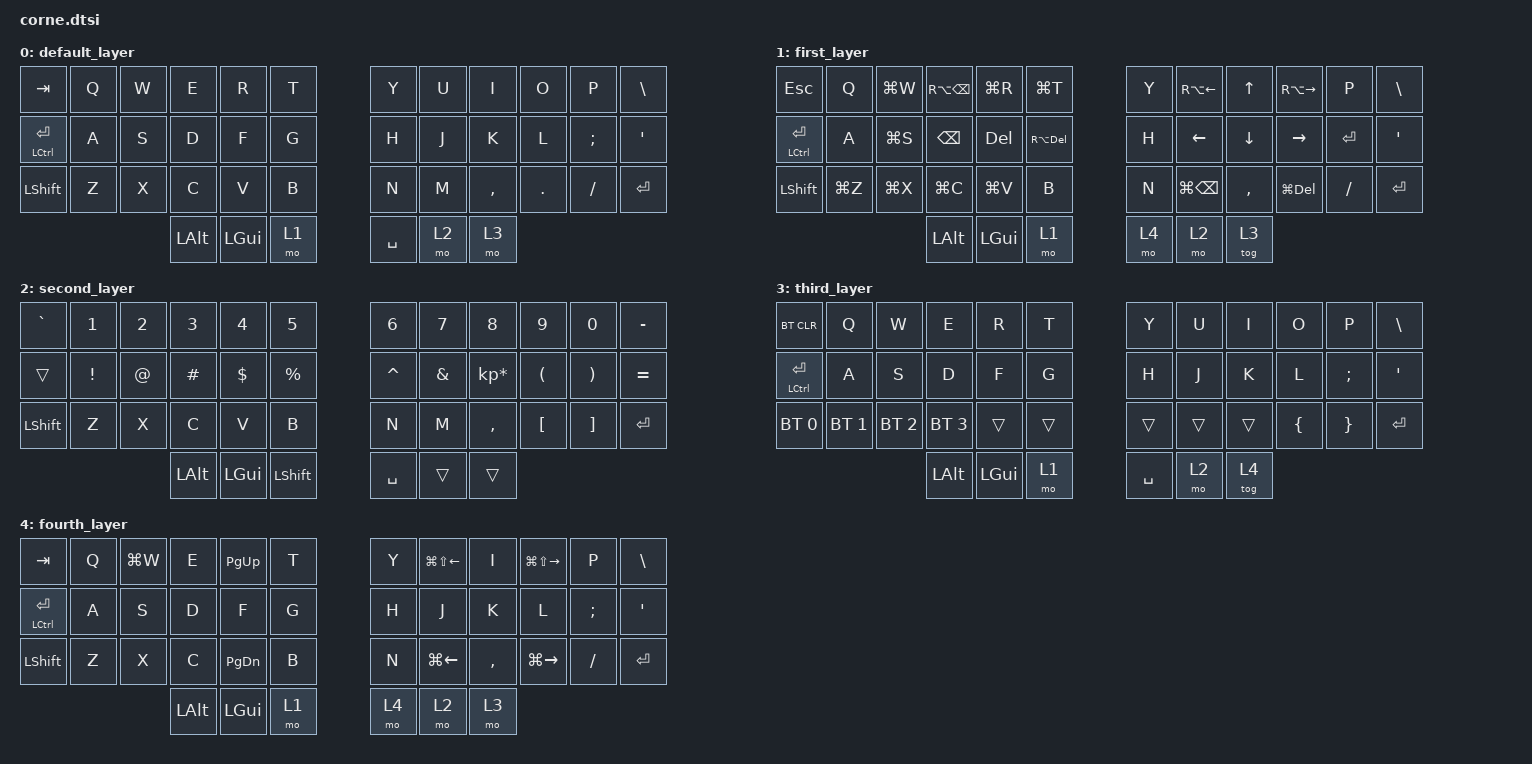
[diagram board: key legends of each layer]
/*
 * Copyright (c) 2020 The ZMK Contributors
 *
 * SPDX-License-Identifier: MIT
 */

#include <behaviors.dtsi>
#include <dt-bindings/zmk/keys.h>
#include <dt-bindings/zmk/bt.h>

/ {
        keymap {
                compatible = "zmk,keymap";

                default_layer {
// -----------------------------------------------------------------------------------------
                        bindings = <
   &kp TAB   &kp Q &kp W &kp E &kp R &kp T   &kp Y &kp U  &kp I     &kp O   &kp P    &kp BSLH
   &mt LCTRL RET &kp A &kp S &kp D &kp F &kp G   &kp H &kp J  &kp K     &kp L   &kp SEMI &kp SQT
   &kp LSHFT &kp Z &kp X &kp C &kp V &kp B   &kp N &kp M  &kp COMMA &kp DOT &kp FSLH &kp RET
                  &kp LALT &kp LGUI &mo 1   &kp SPACE &mo 2 &mo 3
                        >;
                };
// -----------------------------------------------------------------------------------------
                first_layer {
                        bindings = <
    &kp ESC  &kp Q &kp LG(W) &kp RA(BSPC) &kp LG(R) &kp LG(T)   &kp Y &kp RA(LEFT)  &kp UP    &kp RA(RIGHT) &kp P    &kp BSLH
    &mt LCTRL RET &kp A &kp LG(S) &kp BSPC     &kp DEL   &kp RA(DEL) &kp H &kp LEFT      &kp DOWN  &kp RIGHT     &kp RET &kp SQT
    &kp LSHFT     &kp LG(Z) &kp LG(X)     &kp LG(C)    &kp LG(V) &kp B       &kp N &kp LG(BSPC)  &kp COMMA &kp LG(DEL)   &kp FSLH &kp RET
                                            &kp LALT &kp LGUI &mo 1   &mo 4 &mo 2 &tog 3
                                        >;
                };
// -----------------------------------------------------------------------------------------
                second_layer {
                        bindings = <
   &kp GRAVE &kp N1   &kp N2 &kp N3   &kp N4   &kp N5      &kp N6    &kp N7    &kp N8          &kp N9   &kp N0   &kp MINUS
   &trans  &kp EXCL &kp AT &kp HASH &kp DLLR &kp PRCNT   &kp CARET &kp AMPS  &kp KP_MULTIPLY &kp LPAR &kp RPAR &kp EQUAL
    &kp LSHFT &kp Z &kp X &kp C &kp V &kp B   &kp N &kp M  &kp COMMA &kp LBKT &kp RBKT &kp RET
                                                &kp LALT &kp LGUI   &kp LSHFT   &kp SPACE   &trans    &trans
                                        >;
                };                
// -----------------------------------------------------------------------------------------
                third_layer {
bindings = <
&bt BT_CLR   &kp Q &kp W &kp E &kp R &kp T              &kp Y &kp U  &kp I     &kp O   &kp P    &kp BSLH
&mt LCTRL RET &kp A &kp S &kp D &kp F &kp G             &kp H &kp J  &kp K     &kp L   &kp SEMI &kp SQT
&bt BT_SEL 0   &bt BT_SEL 1 &bt BT_SEL 2   &bt BT_SEL 3   &trans &trans                 &trans &trans &trans &kp LBRC &kp RBRC &kp RET
&kp LALT &kp LGUI &mo 1   &kp SPACE &mo 2 &tog 4
>;
                };
                fourth_layer {
// -----------------------------------------------------------------------------------------
bindings = <
&kp TAB   &kp Q &kp LG(W) &kp E &kp PG_UP &kp T         &kp Y &kp LG(LS(LEFT))  &kp I     &kp LG(LS(RIGHT))   &kp P    &kp BSLH
&mt LCTRL RET &kp A &kp S &kp D &kp F &kp G         &kp H &kp J  &kp K     &kp L   &kp SEMI &kp SQT
&kp LSHFT &kp Z &kp X &kp C &kp PG_DN &kp B                 &kp N &kp LG(LEFT)  &kp COMMA &kp LG(RIGHT) &kp FSLH &kp RET
                &kp LALT &kp LGUI &mo 1   &mo 4 &mo 2 &mo 3
>;
                };
        };
};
